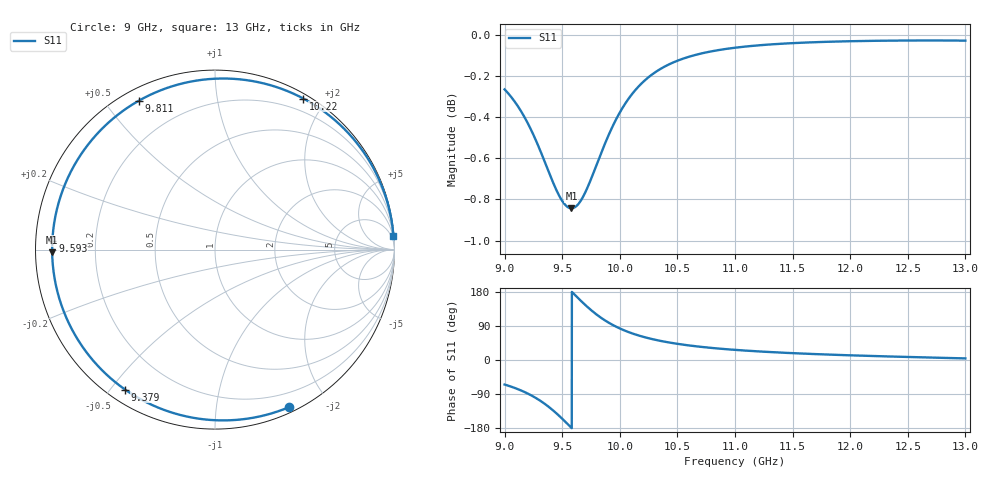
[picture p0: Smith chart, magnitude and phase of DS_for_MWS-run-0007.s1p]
! TOUCHSTONE file generated by CST DESIGN STUDIO
! Date and time: Tue Feb  4 14:04:19 2025
! Project name: C:\Work\MatlabApps\UnitCellOptimizationMatlab\CST\unitcell.cst
! Tree item: Tasks\Sweep1\SPara1\S-Parameters
! Header version: 2024
! Port assignment regex: !\s*Touchstone port\s*([0-9]+)\s*=\s*(CST MWS port|CST DES external port|CST DES block port)\s*(.+)\s* \(\"(.*)\"\)(\s*mode\s*([0-9]+))?.*
! Touchstone port assignment:
! Touchstone port 1 = CST DES external port 1 ("")
# GHz S MA R 50
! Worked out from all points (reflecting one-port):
!   4001 points, 9 GHz to 13 GHz, reference 50 ohm
!   lowest |S11| = -0.8 dB at 9.58 GHz (marker M1), VSWR 20.62, Z = 2.43 - j0.424 ohm
!   phase of S11 starts at -65 deg and turns -291 deg over the sweep
!   S11 on the Smith chart (normalised r, x): 9 GHz: 0.05, -1.58; 9.379 GHz: 0.05, -0.55; 9.593 GHz: 0.05, +0.03; 9.811 GHz: 0.05, +0.61; 10.22 GHz: 0.05, +1.74; 13 GHz: 1, +27
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9  0.9699 -64.8
9.045  0.9668 -69.1
9.113  0.961 -76.6
9.229  0.9483 -92.9
9.308  0.9375 -107.2
9.379  0.9268 -122.7
9.439  0.9182 -137.8
9.5  0.9112 -154.9
9.541  0.9084 -167.1
9.58  0.9075 -179.0
9.593  0.9076 177.0
9.649  0.9103 160.0
9.71  0.9168 142.5
9.76  0.9239 129.3
9.811  0.9318 117.1
9.853  0.9382 108.1
9.897  0.9446 99.7
10  0.9575 83.2
10.105  0.9673 70.5
10.221  0.9751 59.7
10.35  0.981 50.6
10.5  0.9856 42.7
10.721  0.9898 34.2
11  0.9928 26.7
11.5  0.9954 18.1
12  0.9964 12.3
12.5  0.9968 8.0
13  0.9968 4.2
